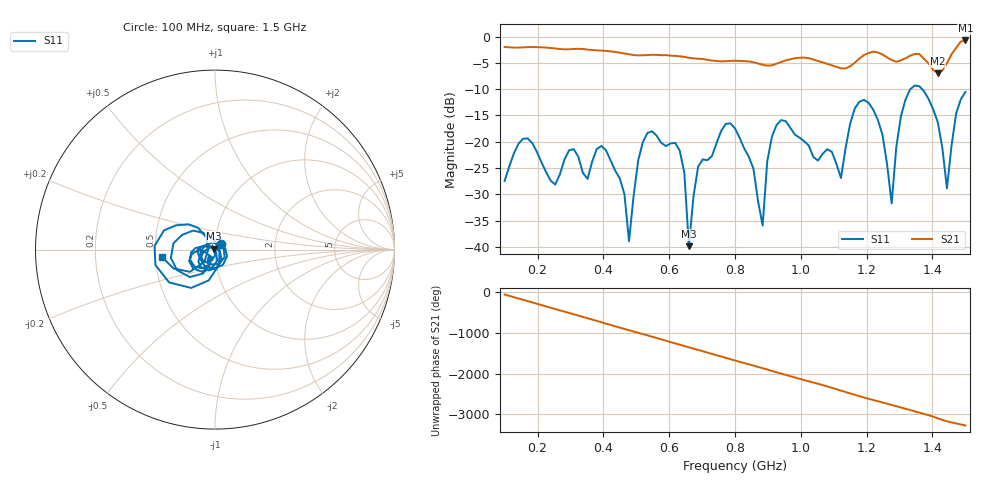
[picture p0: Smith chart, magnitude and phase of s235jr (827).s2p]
! NanoVNA-App
! Date: 2025-09-25 15:10:36
! Start: 100MHz Stop: 1,5GHz Points: 101
! S-Parameter data: F S11 S21 S12 S22
# Hz S RI R 50
!  Frequency  S11_Real  S11_Imag  S21_Real  S21_Imag  S12_Real  S12_Imag  S22_Real  S22_Imag
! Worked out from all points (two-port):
!   101 points, 100 MHz to 1.5 GHz, reference 50 ohm
!   highest |S21| = -0.73 dB at 1.5 GHz (marker M1); lowest = -6.9 dB at 1.416 GHz (marker M2)
!   |S21| within 3 dB of the highest: start of sweep to 630.4 MHz; 1.187 GHz to 1.256 GHz (69.28 MHz wide, 5.67 % of centre) (the widest 2 of 4)
!   lowest |S11| = -39.9 dB at 660 MHz (marker M3), VSWR 1.02, Z = 49.2 + j0.597 ohm
!   |S11| at or under -10 dB: start of sweep to 1.333 GHz; 1.369 GHz to end of sweep
!   S12 and S22 are empty: the file has one direction only
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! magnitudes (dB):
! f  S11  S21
! 100 MHz  -27.5  -2.0
! 156 MHz  -19.4  -2.0
! 338 MHz  -26.0  -2.4
! 408 MHz  -21.6  -2.7
! 478 MHz  -38.9  -3.4
! 520 MHz  -20.1  -3.5
! 576 MHz  -20.2  -3.5
! 632 MHz  -21.7  -3.7
! 660 MHz  -39.9  -4.0
! 688 MHz  -24.7  -4.2
! 800 MHz  -17.5  -4.6
! 884 MHz  -36.0  -5.4
! 926 MHz  -16.9  -5.2
! 1.038 GHz  -22.9  -4.4
! 1.122 GHz  -26.9  -6.0
! 1.192 GHz  -12.0  -3.5
! 1.248 GHz  -18.7  -3.4
! 1.276 GHz  -31.7  -4.5
! 1.332 GHz  -10.0  -3.6
! 1.416 GHz  -16.2  -6.9
! 1.444 GHz  -28.9  -5.0
! 1.5 GHz  -10.5  -0.7
